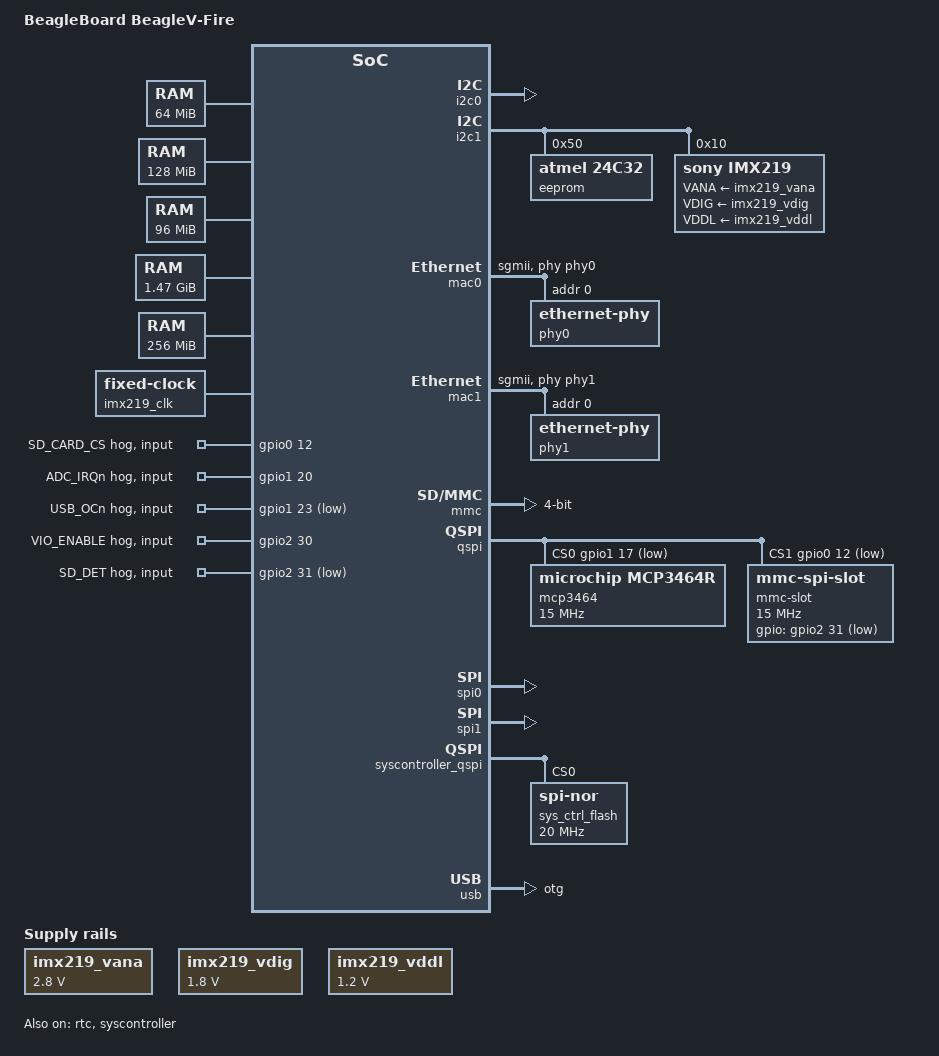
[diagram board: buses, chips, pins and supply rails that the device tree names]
// SPDX-License-Identifier: (GPL-2.0 OR MIT)
/* Copyright (c) 2020-2021 Microchip Technology Inc */

/dts-v1/;

#include <dt-bindings/gpio/gpio.h>
#include "mpfs.dtsi"
#include "mpfs-beaglev-fire-fabric.dtsi"

/* Clock frequency (in Hz) of the rtcclk */
#define RTCCLK_FREQ		1000000

/ {
	#address-cells = <2>;
	#size-cells = <2>;
	model = "BeagleBoard BeagleV-Fire";
	compatible = "microchip,mpfs-icicle-reference-rtlv2210", "microchip,mpfs";

	soc {
		dma-ranges = <0x14 0x0 0x0 0x80000000 0x0 0x4000000>,
			     <0x14 0x4000000 0x0 0xc4000000 0x0 0x6000000>,
			     <0x14 0xa000000 0x0 0x8a000000 0x0 0x8000000>,
			     <0x14 0x12000000 0x14 0x12000000 0x0 0x10000000>,
			     <0x14 0x22000000 0x10 0x22000000 0x0 0x5e000000>;
	};

	aliases {
		mmc0 = &mmc;
		ethernet0 = &mac1;
		serial0 = &mmuart0;
		serial1 = &mmuart1;
		serial2 = &mmuart2;
		serial3 = &mmuart3;
		serial4 = &mmuart4;
	};

	chosen {
		stdout-path = "serial0:115200n8";
	};

	cpus {
		timebase-frequency = <RTCCLK_FREQ>;
	};

	kernel: memory@80000000 {
		device_type = "memory";
		reg = <0x0 0x80000000 0x0 0x4000000>;
	};

	ddr_cached_low: memory@8a000000 {
		device_type = "memory";
		reg = <0x0 0x8a000000 0x0 0x8000000>;
	};

	ddr_non_cached_low: memory@c4000000 {
		device_type = "memory";
		reg = <0x0 0xc4000000 0x0 0x6000000>;
	};

	ddr_cached_high: memory@1022000000 {
		device_type = "memory";
		reg = <0x10 0x22000000 0x0 0x5e000000>;
	};

	ddr_non_cached_high: memory@1412000000 {
		device_type = "memory";
		reg = <0x14 0x12000000 0x0 0x10000000>;
	};

	reserved-memory {
		#address-cells = <2>;
		#size-cells = <2>;
		ranges;

		hss: hss-buffer@103fc00000 {
			compatible = "shared-dma-pool";
			reg = <0x10 0x3fc00000 0x0 0x400000>;
			no-map;
		};

		dma_non_cached_low: non-cached-low-buffer {
			compatible = "shared-dma-pool";
			size = <0x0 0x4000000>;
			no-map;
			linux,dma-default;
			alloc-ranges = <0x0 0xc4000000 0x0 0x4000000>;
		};

		dma_non_cached_high: non-cached-high-buffer {
			compatible = "shared-dma-pool";
			size = <0x0 0x10000000>;
			no-map;
			linux,dma-default;
			alloc-ranges = <0x14 0x12000000 0x0 0x10000000>;
		};
	};

	imx219_vana: fixedregulator@0 {
		compatible = "regulator-fixed";
		regulator-name = "imx219_vana";
		regulator-min-microvolt = <2800000>;
		regulator-max-microvolt = <2800000>;
	};
	imx219_vdig: fixedregulator@1 {
		compatible = "regulator-fixed";
		regulator-name = "imx219_vdig";
		regulator-min-microvolt = <1800000>;
		regulator-max-microvolt = <1800000>;
	};
	imx219_vddl: fixedregulator@2 {
		compatible = "regulator-fixed";
		regulator-name = "imx219_vddl";
		regulator-min-microvolt = <1200000>;
		regulator-max-microvolt = <1200000>;
	};


	imx219_clk: camera-clk {
		compatible = "fixed-clock";
		#clock-cells = <0>;
		clock-frequency = <24000000>;
	};


};

&gpio0 {
	ngpios=<14>;
	gpio-line-names = "", "", "", "", "", "", "", "", "", "", "", "", "SD_CARD_CS", "USER_BUTTON";
	status = "okay";

	sd_card_cs {
		gpio-hog;
		gpios = <12 12>;
		output_high;
		line-name = "SD_CARD_CS";
	};
};

&gpio1 {
	ngpios=<24>;
	gpio-line-names = "", "", "", "", "", "", "", "", "", "",
					  "", "", "", "", "", "", "", "", "", "",
					  "ADC_IRQn", "", "", "USB_OCn";
	status = "okay";

	adc_irqn {
		gpio-hog;
		gpios = <20 20>;
		input;
		line-name = "ADC_IRQn";
	};

	user_button {
		gpio-hog;
		gpios = <23 23>;
		input;
		line-name = "USB_OCn";
	};

};

&gpio2 {
	interrupts = <53>, <53>, <53>, <53>,
		     <53>, <53>, <53>, <53>,
		     <53>, <53>, <53>, <53>,
		     <53>, <53>, <53>, <53>,
		     <53>, <53>, <53>, <53>,
		     <53>, <53>, <53>, <53>,
		     <53>, <53>, <53>, <53>,
		     <53>, <53>, <53>, <53>;
	gpio-line-names = "P8_PIN3_USER_LED_0", "P8_PIN4_USER_LED_1", "P8_PIN5_USER_LED_2",
					"P8_PIN6_USER_LED_3", "P8_PIN7_USER_LED_4", "P8_PIN8_USER_LED_5",
					"P8_PIN9_USER_LED_6", "P8_PIN10_USER_LED_7", "P8_PIN11_USER_LED_8",
					"P8_PIN12_USER_LED_9", "P8_PIN13_USER_LED_10", "P8_PIN14_USER_LED_11",
					"P8_PIN15", "P8_PIN16", "P8_PIN17", "P8_PIN18", "P8_PIN19",
					"P8_PIN20", "P8_PIN21", "P8_PIN22",	"P8_PIN23", "P8_PIN24",
					"P8_PIN25", "P8_PIN26", "P8_PIN27", "P8_PIN28", "P8_PIN29",
					"P8_PIN30",
					"M2_W_DISABLE1", "M2_W_DISABLE2",
					"VIO_ENABLE", "SD_DET";
	status = "okay";

	vio_enable {
		gpio-hog;
		gpios = <30 30>;
		output_high;
		line-name = "VIO_ENABLE";
	};

	sd_det {
		gpio-hog;
		gpios = <31 31>;
		input;
		line-name = "SD_DET";
	};
};

&i2c0 {
	status = "okay";
};

&i2c1 {
	status = "okay";
	eeprom: eeprom@50 {
		compatible = "atmel,24c32";
		pagesize = <32>;
		reg = <0x50>;
	};

	imx219: sensor@10 {
		compatible = "sony,imx219";
		reg = <0x10>;
		clocks = <&imx219_clk>;
		VANA-supply = <&imx219_vana>;   /* 2.8v */
		VDIG-supply = <&imx219_vdig>;   /* 1.8v */
		VDDL-supply = <&imx219_vddl>;   /* 1.2v */

		port {
			imx219_0: endpoint {
//				remote-endpoint = <&csi1_ep>;
				data-lanes = <1 2>;
				clock-noncontinuous;
				link-frequencies = /bits/ 64 <456000000>;
			};
		};
	};


};

&mac0 {
	dma-noncoherent;
	status = "okay";
	phy-mode = "sgmii";
	phy-handle = <&phy0>;
	phy0: ethernet-phy@0 {
		reg = <0>;
	};
};

&mac1 {
	dma-noncoherent;
	status = "okay";
	phy-mode = "sgmii";
	phy-handle = <&phy1>;
	phy1: ethernet-phy@0 {
		reg = <0>;
	};
};

&mbox {
	status = "okay";
};

//&mmc {
//	status = "okay";
//	bus-width = <8>;
//	disable-wp;
//	cap-mmc-highspeed;
//	mmc-ddr-1_8v;
//	mmc-hs200-1_8v;
//};

&mmc {
	dma-noncoherent;
	bus-width = <4>;
	disable-wp;
	cap-sd-highspeed;
	cap-mmc-highspeed;
	mmc-ddr-1_8v;
	mmc-hs200-1_8v;
	sd-uhs-sdr12;
	sd-uhs-sdr25;
	sd-uhs-sdr50;
	sd-uhs-sdr104;
	status = "okay";
};


&mmuart0 {
	status = "okay";
};

&mmuart1 {
	status = "okay";
};

//&mmuart2 {
//	status = "okay";
//};

//&mmuart3 //{
//	statu//s = "okay";
//};//
//
//&mmuart4 {
//	status = "okay";
//};

//&pcie {
//	status = "okay";
//};

&qspi {
	status = "okay";
	cs-gpios = <&gpio1 17 GPIO_ACTIVE_LOW>, <&gpio0 12 GPIO_ACTIVE_LOW>;
	num-cs = <2>;


	mcp3464: mcp3464@0 {
			compatible = "microchip,mcp3464r";
			reg = <0>; /* CE0 */
			spi-cpol;
			spi-cpha;
			spi-max-frequency = <15000000>;
			status = "okay";
			microchip,hw-device-address = <1>;
	};

	mmc-slot@1 {
		compatible = "mmc-spi-slot";
		reg = <1>;
		gpios = <&gpio2 31 1>;
		voltage-ranges = <3300 3300>;
		spi-max-frequency = <15000000>;
		disable-wp;
	};
};

&refclk {
	clock-frequency = <125000000>;
};

&refclk_ccc {
	clock-frequency = <50000000>;
};

&rtc {
	status = "okay";
};

&spi0 {
	status = "okay";
};

&spi1 {
	status = "okay";
};

&syscontroller {
	microchip,bitstream-flash = <&sys_ctrl_flash>;
	status = "okay";
};

&syscontroller_qspi {
	status = "okay";

	sys_ctrl_flash: flash@0 { // MT25QL01GBBB8ESF-0SIT
		compatible = "jedec,spi-nor";
		#address-cells = <1>;
		#size-cells = <1>;
		spi-max-frequency = <20000000>;
		spi-rx-bus-width = <1>;
		reg = <0>;
	};
};


&usb {
	dma-noncoherent;
	status = "okay";
	dr_mode = "otg";
};

// UARTs
//bone_uart_4: &mmuart4 {
//	symlink = "bone/uart/4";
//};

// I2Cs 
bone_i2c_2: &i2c0 {
	symlink = "bone/i2c/2";
};
